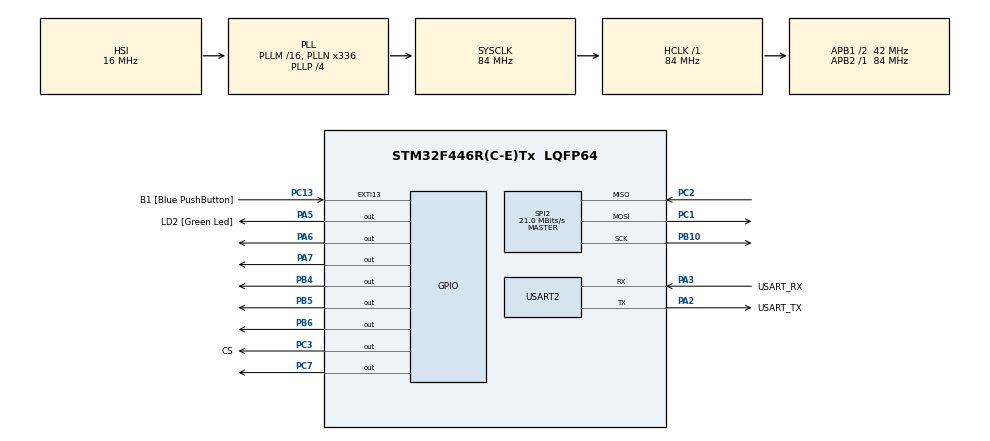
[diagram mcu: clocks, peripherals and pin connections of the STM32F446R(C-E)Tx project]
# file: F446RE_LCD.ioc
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Mcu.Family=STM32F4
Mcu.Name=STM32F446R(C-E)Tx
Mcu.Package=LQFP64
NVIC.PriorityGroup=NVIC_PRIORITYGROUP_0
PA13.GPIO_Label=TMS
PA13.Mode=Serial_Wire
PA13.Signal=SYS_JTMS-SWDIO
PA14.GPIO_Label=TCK
PA14.Mode=Serial_Wire
PA14.Signal=SYS_JTCK-SWCLK
PA2.GPIO_Label=USART_TX
PA2.Mode=Asynchronous
PA2.Signal=USART2_TX
PA3.GPIO_Label=USART_RX
PA3.Mode=Asynchronous
PA3.Signal=USART2_RX
PA5.GPIO_Label=LD2 [Green Led]
PA5.Signal=GPIO_Output
PA6.Signal=GPIO_Output
PA7.Signal=GPIO_Output
PB10.Mode=Full_Duplex_Master
PB10.Signal=SPI2_SCK
PB3.GPIO_Label=SWO
PB3.Signal=SYS_JTDO-SWO
PB4.Signal=GPIO_Output
PB5.Signal=GPIO_Output
PB6.Signal=GPIO_Output
PC1.Mode=Full_Duplex_Master
PC1.Signal=SPI2_MOSI
PC13.GPIO_Label=B1 [Blue PushButton]
PC13.GPIO_ModeDefaultEXTI=GPIO_MODE_IT_FALLING
PC13.Signal=GPXTI13
PC14-OSC32_IN.Mode=LSE-External-Oscillator
PC14-OSC32_IN.Signal=RCC_OSC32_IN
PC15-OSC32_OUT.Mode=LSE-External-Oscillator
PC15-OSC32_OUT.Signal=RCC_OSC32_OUT
PC2.Mode=Full_Duplex_Master
PC2.Signal=SPI2_MISO
PC3.GPIO_Label=CS
PC3.Signal=GPIO_Output
PC7.Signal=GPIO_Output
PH0-OSC_IN.Mode=HSE-External-Oscillator
PH0-OSC_IN.Signal=RCC_OSC_IN
PH1-OSC_OUT.Mode=HSE-External-Oscillator
PH1-OSC_OUT.Signal=RCC_OSC_OUT
ProjectManager.HeapSize=0x200
ProjectManager.StackSize=0x400
ProjectManager.TargetToolchain=STM32CubeIDE
RCC.48MHZClocksFreq_Value=84000000
RCC.AHBFreq_Value=84000000
RCC.APB1CLKDivider=RCC_HCLK_DIV2
RCC.APB1Freq_Value=42000000
RCC.APB1TimFreq_Value=84000000
RCC.APB2Freq_Value=84000000
RCC.APB2TimFreq_Value=84000000
RCC.CortexFreq_Value=84000000
RCC.FLatency-AdvancedSettings=FLASH_LATENCY_2
RCC.HCLKFreq_Value=84000000
RCC.HSE_VALUE=8000000
RCC.HSI_VALUE=16000000
RCC.PLLN=336
RCC.PLLP=RCC_PLLP_DIV4
RCC.SYSCLKFreq_VALUE=84000000
RCC.SYSCLKSource=RCC_SYSCLKSOURCE_PLLCLK
RCC.USBFreq_Value=168000000
RCC.VCOOutputFreq_Value=336000000
SPI2.CalculateBaudRate=21.0 MBits/s
SPI2.Direction=SPI_DIRECTION_2LINES
SPI2.Mode=SPI_MODE_MASTER
SPI2.VirtualType=VM_MASTER
USART2.VirtualMode=VM_ASYNC
board=NUCLEO-F446RE

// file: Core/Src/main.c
/* USER CODE BEGIN Header */
/**
  ******************************************************************************
  * @file           : main.c
  * @brief          : Main program body
  ******************************************************************************
  * @attention
  *
  * Copyright (c) 2024 STMicroelectronics.
  * All rights reserved.
  *
  * This software is licensed under terms that can be found in the LICENSE file
  * in the root directory of this software component.
  * If no LICENSE file comes with this software, it is provided AS-IS.
  *
  ******************************************************************************
  */
/* USER CODE END Header */
#include "main.h"

/* USER CODE BEGIN Includes */

////////////////////////////////////////////////////////////////////////////////
#include <stdlib.h>
#include <stdio.h>
#include "lcd.h"
#include "Fuzzy.h"
#include "max31856.h"
////////////////////////////////////////////////////////////////////////////////

/* USER CODE END Includes */

SPI_HandleTypeDef hspi2;

UART_HandleTypeDef huart2;

/* USER CODE BEGIN PV */

////////////////////////////////////////////////////////////////////////////////
//Definimos conjunto para variable de entrada
float USAL[] = {-50,50}; // Definimos el universo de discurso (rango)de la variable salida
float UIN[] = {-1500,1500};// Definimos universo de discurso de la variable de entrada
float ENP[] = {-1500,-666,0,'T'}; //Definimos los conjuntos difusos, colocando 'T' si es triangular, o 'R' si es trapezoidal
float EC[] = {-5,0,5,'T'};// Conjuntos difusos de entrada
float EPP[] = {6,666,1500,'T'};

// Definimos conjuntos variable de salida
float DT[] = {-40,-30,-20,-10,'R'}; //Conjunto difuso trapezoidal
float ZE[] = {-10,0,10,'T'};  //Conjunto difuso triangular
float AT[] = {10,20,30,40,'R'};// Conjunto difuso trapezoidal
float paso = 2; //Se define la cantidad mínima de variación para los numeros del conjunto de salida
//OJO: La entrada no debe llegar a los valores extremos de su conjunto
float setpoint =1000,rpm=0,error;
int tam;
////////////////////////////////////////////////////////////////////////////////

/* USER CODE END PV */

void SystemClock_Config(void);
static void MX_GPIO_Init(void);
static void MX_USART2_UART_Init(void);
static void MX_SPI2_Init(void);

int main(void)
{
  /* USER CODE BEGIN 1 */

  tam = calc_size(USAL,paso); // Calculamos el tamaño que tendrá el vector del conjunto de salida con universo salida y "paso"

  /* USER CODE END 1 */

  /* MCU Configuration--------------------------------------------------------*/

  /* Reset of all peripherals, Initializes the Flash interface and the Systick. */
  HAL_Init();

  /* Configure the system clock */
  SystemClock_Config();

  /* Initialize all configured peripherals */
  MX_GPIO_Init();
  MX_USART2_UART_Init();
  MX_SPI2_Init();
  /* USER CODE BEGIN 2 */

    ///////////////////////////////////////////////////////////////////////////////////////
    max31856_t therm = {&hspi2, {GPIOC, GPIO_PIN_3}};
    max31856_init(&therm);
    max31856_set_noise_filter(&therm, CR0_FILTER_OUT_50Hz);
    max31856_set_cold_junction_enable(&therm, CR0_CJ_ENABLED);
    max31856_set_thermocouple_type(&therm, CR1_TC_TYPE_K);
    max31856_set_average_samples(&therm, CR1_AVG_TC_SAMPLES_2);
    max31856_set_open_circuit_fault_detection(&therm, CR0_OC_DETECT_ENABLED_TC_LESS_2ms);
    max31856_set_conversion_mode(&therm, CR0_CONV_CONTINUOUS);
    ///////////////////////////////////////////////////////////////////////////////////////

    ///////////////////////////////////////////////////////////////////////////////////////
    Lcd_PortType ports[] = { GPIOC, GPIOB, GPIOA, GPIOA };
    Lcd_PinType pins[] = {GPIO_PIN_7, GPIO_PIN_6, GPIO_PIN_7, GPIO_PIN_6};
    Lcd_HandleTypeDef lcd;
    lcd = Lcd_create(ports, pins, GPIOB, GPIO_PIN_5, GPIOB, GPIO_PIN_4, LCD_4_BIT_MODE);
    /*
    Lcd_clear(&lcd);
    Lcd_cursor(&lcd, 0,0);
    Lcd_string(&lcd, "Input: ");
    Lcd_cursor(&lcd, 1,0);
    Lcd_string(&lcd, "Output: ");*/

    Lcd_clear(&lcd);
    Lcd_cursor(&lcd, 0,0);
    Lcd_string(&lcd, "Temp: ");
    ///////////////////////////////////////////////////////////////////////////////////////

  /* USER CODE END 2 */

  /* Infinite loop */
  /* USER CODE BEGIN WHILE */
  while (1)
  {

	  float B[tam]; //Creamos el vector que guardará los numeros del conjunto de salida
	  inicio(B,tam); //Inicializamos el objeto fuzzy
	  error=setpoint-rpm;//Calculamos la variable error
	  /*
	   * Se empieza con la inferencia, y para ello las reglas. Para llamar a una regla con una entrada se utiliza la función "regla_simple"
	   * la cual recibe como parametros (Conjunto entrada,Universo de entrada,variable a evaluar,conjunto salida,universo salida,vector salida,tamaño
	   * vector salida)
	   */
	  regla_simple(ENP,UIN,error,DT,USAL,B,tam);//Llamamos a la función para aplicar la regla correspondiente
	  regla_simple(EC,UIN,error,ZE,USAL,B,tam);
	  regla_simple(EPP,UIN,error,AT,USAL,B,tam);
	  float res = defusi(B,USAL,tam); //Se llama a la función para defusificar el conjunto de salida y obtener el resultado del sistema fuzzy
	  rpm = rpm+res; // Se asigna ese resultado a la variable control.

	  /****/
	  /*
	  Lcd_clear(&lcd);
	  Lcd_cursor(&lcd, 0,0);
	  Lcd_string(&lcd, "Input: ");
	  Lcd_cursor(&lcd, 0,7);
	  Lcd_int(&lcd, setpoint);
	  Lcd_cursor(&lcd, 1,0);
	  Lcd_string(&lcd, "Output: ");
	  Lcd_cursor(&lcd, 1,8);
	  Lcd_int(&lcd, rpm);
	  */
	  /****/

	  //Se imprime el valor de rpm que debería converger al valor de setpoint
	  //HAL_Delay(500);

	  /****/
	  max31856_read_fault(&therm);

	  if (therm.sr.val) {
	    /* Handle thermocouple error */
	  }
	  float temp = max31856_read_TC_temp(&therm);

	  /****/
	  Lcd_clear(&lcd);
	  Lcd_cursor(&lcd, 0,0);
	  Lcd_string(&lcd, "Temp: ");
	  Lcd_cursor(&lcd, 0,7);
	  Lcd_int(&lcd, (int)temp);

	  HAL_Delay(500);
	  //printf("%d",(int)temp);
	  //fflush(stdout);

	  /****/

	  ///////////////////////////////////////////////////////////////////////////////////////
	  //Send PWM;
	  ///////////////////////////////////////////////////////////////////////////////////////

    /* USER CODE END WHILE */

  }
}

void SystemClock_Config(void)
{
  RCC_OscInitTypeDef RCC_OscInitStruct = {0};
  RCC_ClkInitTypeDef RCC_ClkInitStruct = {0};

  /** Configure the main internal regulator output voltage
  */
  __HAL_RCC_PWR_CLK_ENABLE();
  __HAL_PWR_VOLTAGESCALING_CONFIG(PWR_REGULATOR_VOLTAGE_SCALE3);

  /** Initializes the RCC Oscillators according to the specified parameters
  * in the RCC_OscInitTypeDef structure.
  */
  RCC_OscInitStruct.OscillatorType = RCC_OSCILLATORTYPE_HSI;
  RCC_OscInitStruct.HSIState = RCC_HSI_ON;
  RCC_OscInitStruct.HSICalibrationValue = RCC_HSICALIBRATION_DEFAULT;
  RCC_OscInitStruct.PLL.PLLState = RCC_PLL_ON;
  RCC_OscInitStruct.PLL.PLLSource = RCC_PLLSOURCE_HSI;
  RCC_OscInitStruct.PLL.PLLM = 16;
  RCC_OscInitStruct.PLL.PLLN = 336;
  RCC_OscInitStruct.PLL.PLLP = RCC_PLLP_DIV4;
  RCC_OscInitStruct.PLL.PLLQ = 2;
  RCC_OscInitStruct.PLL.PLLR = 2;
  if (HAL_RCC_OscConfig(&RCC_OscInitStruct) != HAL_OK)
  {
    Error_Handler();
  }

  /** Initializes the CPU, AHB and APB buses clocks
  */
  RCC_ClkInitStruct.ClockType = RCC_CLOCKTYPE_HCLK|RCC_CLOCKTYPE_SYSCLK
                              |RCC_CLOCKTYPE_PCLK1|RCC_CLOCKTYPE_PCLK2;
  RCC_ClkInitStruct.SYSCLKSource = RCC_SYSCLKSOURCE_PLLCLK;
  RCC_ClkInitStruct.AHBCLKDivider = RCC_SYSCLK_DIV1;
  RCC_ClkInitStruct.APB1CLKDivider = RCC_HCLK_DIV2;
  RCC_ClkInitStruct.APB2CLKDivider = RCC_HCLK_DIV1;

  if (HAL_RCC_ClockConfig(&RCC_ClkInitStruct, FLASH_LATENCY_2) != HAL_OK)
  {
    Error_Handler();
  }
}

static void MX_SPI2_Init(void)
{

  /* SPI2 parameter configuration*/
  hspi2.Instance = SPI2;
  hspi2.Init.Mode = SPI_MODE_MASTER;
  hspi2.Init.Direction = SPI_DIRECTION_2LINES;
  hspi2.Init.DataSize = SPI_DATASIZE_8BIT;
  hspi2.Init.CLKPolarity = SPI_POLARITY_LOW;
  hspi2.Init.CLKPhase = SPI_PHASE_1EDGE;
  hspi2.Init.NSS = SPI_NSS_SOFT;
  hspi2.Init.BaudRatePrescaler = SPI_BAUDRATEPRESCALER_2;
  hspi2.Init.FirstBit = SPI_FIRSTBIT_MSB;
  hspi2.Init.TIMode = SPI_TIMODE_DISABLE;
  hspi2.Init.CRCCalculation = SPI_CRCCALCULATION_DISABLE;
  hspi2.Init.CRCPolynomial = 10;
  if (HAL_SPI_Init(&hspi2) != HAL_OK)
  {
    Error_Handler();
  }

}

static void MX_USART2_UART_Init(void)
{

  huart2.Instance = USART2;
  huart2.Init.BaudRate = 115200;
  huart2.Init.WordLength = UART_WORDLENGTH_8B;
  huart2.Init.StopBits = UART_STOPBITS_1;
  huart2.Init.Parity = UART_PARITY_NONE;
  huart2.Init.Mode = UART_MODE_TX_RX;
  huart2.Init.HwFlowCtl = UART_HWCONTROL_NONE;
  huart2.Init.OverSampling = UART_OVERSAMPLING_16;
  if (HAL_UART_Init(&huart2) != HAL_OK)
  {
    Error_Handler();
  }

}

static void MX_GPIO_Init(void)
{
  GPIO_InitTypeDef GPIO_InitStruct = {0};

  /* GPIO Ports Clock Enable */
  __HAL_RCC_GPIOC_CLK_ENABLE();
  __HAL_RCC_GPIOH_CLK_ENABLE();
  __HAL_RCC_GPIOA_CLK_ENABLE();
  __HAL_RCC_GPIOB_CLK_ENABLE();

  /*Configure GPIO pin Output Level */
  HAL_GPIO_WritePin(GPIOC, CS_Pin|GPIO_PIN_7, GPIO_PIN_RESET);

  /*Configure GPIO pin Output Level */
  HAL_GPIO_WritePin(GPIOA, LD2_Pin|GPIO_PIN_6|GPIO_PIN_7, GPIO_PIN_RESET);

  /*Configure GPIO pin Output Level */
  HAL_GPIO_WritePin(GPIOB, GPIO_PIN_4|GPIO_PIN_5|GPIO_PIN_6, GPIO_PIN_RESET);

  /*Configure GPIO pin : B1_Pin */
  GPIO_InitStruct.Pin = B1_Pin;
  GPIO_InitStruct.Mode = GPIO_MODE_IT_FALLING;
  GPIO_InitStruct.Pull = GPIO_NOPULL;
  HAL_GPIO_Init(B1_GPIO_Port, &GPIO_InitStruct);

  /*Configure GPIO pins : CS_Pin PC7 */
  GPIO_InitStruct.Pin = CS_Pin|GPIO_PIN_7;
  GPIO_InitStruct.Mode = GPIO_MODE_OUTPUT_PP;
  GPIO_InitStruct.Pull = GPIO_NOPULL;
  GPIO_InitStruct.Speed = GPIO_SPEED_FREQ_LOW;
  HAL_GPIO_Init(GPIOC, &GPIO_InitStruct);

  /*Configure GPIO pins : LD2_Pin PA6 PA7 */
  GPIO_InitStruct.Pin = LD2_Pin|GPIO_PIN_6|GPIO_PIN_7;
  GPIO_InitStruct.Mode = GPIO_MODE_OUTPUT_PP;
  GPIO_InitStruct.Pull = GPIO_NOPULL;
  GPIO_InitStruct.Speed = GPIO_SPEED_FREQ_LOW;
  HAL_GPIO_Init(GPIOA, &GPIO_InitStruct);

  /*Configure GPIO pins : PB4 PB5 PB6 */
  GPIO_InitStruct.Pin = GPIO_PIN_4|GPIO_PIN_5|GPIO_PIN_6;
  GPIO_InitStruct.Mode = GPIO_MODE_OUTPUT_PP;
  GPIO_InitStruct.Pull = GPIO_NOPULL;
  GPIO_InitStruct.Speed = GPIO_SPEED_FREQ_LOW;
  HAL_GPIO_Init(GPIOB, &GPIO_InitStruct);

}

void Error_Handler(void)
{
  __disable_irq();
  while (1)
  {
  }
}
